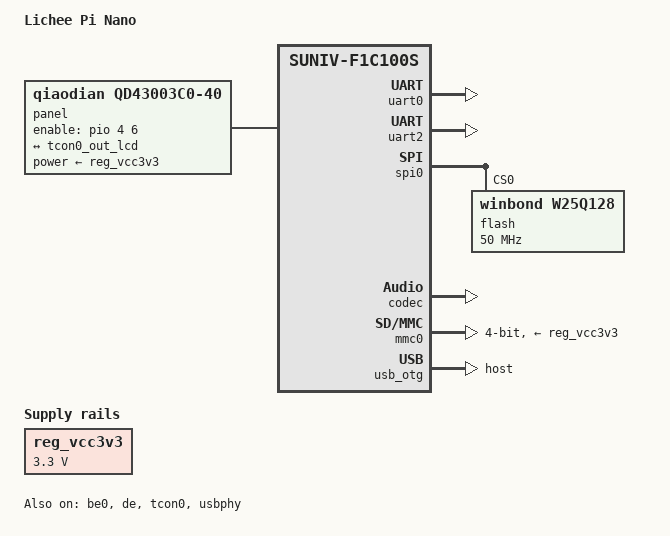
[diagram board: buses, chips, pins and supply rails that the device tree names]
// SPDX-License-Identifier: (GPL-2.0+ OR X11)
/*
 * Copyright 2018 Icenowy Zheng <icenowy@aosc.io>
 */

/dts-v1/;
#include "suniv-f1c100s.dtsi"

#include <dt-bindings/gpio/gpio.h>

/ {
	model = "Lichee Pi Nano";
	compatible = "licheepi,licheepi-nano", "allwinner,suniv-f1c100s";

	aliases {
		serial0 = &uart0;
	};

	chosen {
		stdout-path = "serial0:115200n8";
	};

	panel: panel {
		compatible = "qiaodian,qd43003c0-40", "simple-panel";
		#address-cells = <1>;
		#size-cells = <0>;
		enable-gpios = <&pio 4 6 GPIO_ACTIVE_HIGH>;
		power-supply = <&reg_vcc3v3>;

		port@0 {
			reg = <0>;
			#address-cells = <1>;
			#size-cells = <0>;

			panel_input: endpoint@0 {
				reg = <0>;
				remote-endpoint = <&tcon0_out_lcd>;
			};
		};
	};

	reg_vcc3v3: vcc3v3 {
		compatible = "regulator-fixed";
		regulator-name = "vcc3v3";
		regulator-min-microvolt = <3300000>;
		regulator-max-microvolt = <3300000>;
	};

};

&uart0 {
	pinctrl-names = "default";
	pinctrl-0 = <&uart0_pe_pins>;
	status = "okay";
};

&uart2 {
	pinctrl-names = "default";
	pinctrl-0 = <&uart2_pe_pins>;
	status = "okay";
};

&spi0 {
	pinctrl-names = "default";
	pinctrl-0 = <&spi0_pc_pins>;
	status = "okay";
	flash@0 {
		#address-cells = <1>;
		#size-cells = <1>;
		compatible = "winbond,w25q128", "jedec,spi-nor";
		reg = <0>;
		spi-max-frequency = <50000000>;
	};
};

&spi1 {

	pinctrl-names = "default";
	pinctrl-0 = <&spi1_pa_pins>;
	status = "disabled";
        ili9341@0 {
                  compatible = "adafruit,yx240qv29", "ilitek,ili9341";
                  reg = <0>;
                  spi-max-frequency = <40000000>;
                  rotate = <270>;
                  bgr;
                  fps = <10>;
                  buswidth = <8>;
                  reset-gpios = <&pio 4 3 GPIO_ACTIVE_LOW>;
                  dc-gpios = <&pio 4 4 GPIO_ACTIVE_HIGH>;
                  debug = <3>;
                  init = <0x1000001
                          0x2000064
                          0x10000ef 0x03 0x80 0x02
                          0x10000cf 0x00 0xc1 0x30
                          0x10000ed 0x64 0x03 0x12 0x81
                          0x10000e8 0x85 0x00 0x78
                          0x10000cb 0x39 0x2C 0x00 0x34 0x02
                          0x10000f7 0x20
                          0x10000ea 0x00 0x00
                          0x10000c0 0x23
                          0x10000c1 0x10
                          0x10000c5 0x3e 0x28
                          0x10000c7 0x86
                          0x1000036 0x48
                          0x1000037 0x00
                          0x100003a 0x55
                          0x10000b1 0x00 0x18
                          0x10000b6 0x08 0x82 0x27
                          0x10000f2 0x00 
                          0x1000026 0x01
                          0x10000e0 0x0F 0x31 0x2B 0x0C 0x0E 0x08 0x4E 0xF1 0x37 0x07 0x10 0x03 0x0E 0x09 0x00
                          0x10000e1 0x00 0x0E 0x14 0x03 0x11 0x07 0x31 0xC1 0x48 0x08 0x0F 0x0C 0x31 0x36 0x0F
                          0x2000010
                          0x1000011
                          0x2000010
                          0x1000029
                          0x2000010>;
        };
};






&codec {
	allwinner,audio-routing =
		"Headphone", "HP",
		"Headphone", "HPCOM",
		"MIC", "Mic";
	status = "okay";
};

&be0 {
	status = "okay";
};

&de {
	status = "okay";
};

&mmc0 {
	vmmc-supply = <&reg_vcc3v3>;
	bus-width = <4>;
	broken-cd;
	status = "okay";
};

&tcon0 {
	pinctrl-names = "default";
	pinctrl-0 = <&lcd_rgb666_pins>;
	status = "okay";
};

&tcon0_out {
	tcon0_out_lcd: endpoint@0 {
		reg = <0>;
		remote-endpoint = <&panel_input>;
	};
};

&otg_sram {
	status = "okay";
};

&usb_otg {
	dr_mode = "host";
	status = "okay";
};

&usbphy {
	usb0_id_det = <&pio 4 2 GPIO_ACTIVE_HIGH>; /* PE2 */
	status = "okay";
};
